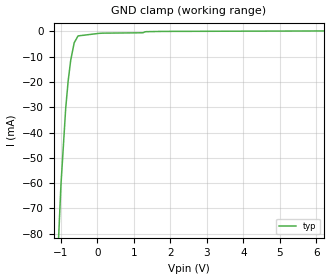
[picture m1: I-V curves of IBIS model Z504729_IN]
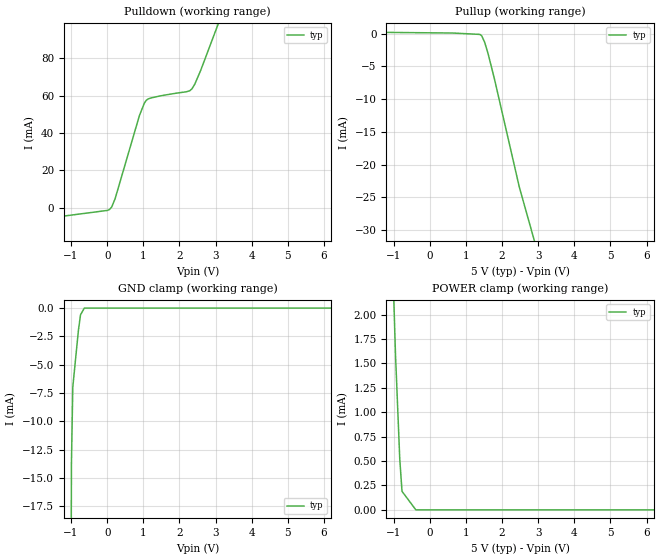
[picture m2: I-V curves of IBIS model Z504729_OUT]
| YOU ARE ONLY AUTHORIZED TO USE THIS SOFTWARE
| ACCORDING TO LICENSOR'S LICENSE RESTRICTIONS.
[IBIS Ver] 3.1
[File Name] sn74ls77d.ibs
[File Rev] 2.0
[Source] Measured and created by ICX Technology
[Date] Friday 7/14/00 9:08:21 AM
[Copyright]
| (C) COPYRIGHT 1993-2000
| MENTOR GRAPHICS CORPORATION
| ICX STANDARD LIBRARY, ICX PROJECT MODELING,
| ICX CUSTOM MODELING, ICX VENDOR MODEL
| ALL RIGHTS RESERVED.
| THE FOLLOWING ARE TRADEMARKS OR SERVICE MARKS OF
| MENTOR GRAPHICS CORPORATION:ICX (R), ICX STANDARD
| LIBRARY(R), ICX PROJECT MODELING(R), ICX CUSTOM
| MODELING(R), qualityIBIS(TM), MODELVIEWER(TM),
| AND MODELEDITOR(TM)
| ALL COPIES OF SOFTWARE, INCLUDING BUT NOT LIMITED TO
| ANY MODIFICATIONS, ENHANCEMENTS OR DERIVATIVE WORKS,
| MUST CONTAIN ALL MENTOR GRAPHICS CORPORATION'S
| NOTICES AND LEGENDS, INCLUDING THOSE EMBEDDED IN
| SOFTWARE AND THOSE AFFIXED TO SOFTWARE MEDIUM
| AND CONTAINER, AS RECEIVED FROM MENTOR GRAPHICS
| CORPORATION.
|  ZAP Model Builder 2.7
[Component] SN74LS77D
[Manufacturer] OnSemiconductor
[Package]
| variable   typ   min   max
R_pkg  .21ohms NA NA
L_pkg  4.543nH NA NA
C_pkg  1.059pF NA NA
[Pin] signal_name  model_name  R_pin  L_pin C_pin
1 D0 Z504729_IN .22 6.757n 1.432p
2 D1 Z504729_IN .212 4.757n 1.142p
3 CLK Z504729_IN .204 3.257n .852p
4 VCC POWER .196 2.257n .562p
5 D0 Z504729_IN .204 3.257n .852p
6 D1 Z504729_IN .212 4.757n 1.142p
7 NC NC .22 6.757n 1.432p
8 Q1 Z504729_OUT .22 6.757n 1.432p
9 Q0 Z504729_OUT .212 4.757n 1.142p
10 NC NC .204 3.257n .852p
11 GROUND GND .196 2.257n .562p
12 CLK Z504729_IN .204 3.257n .852p
13 Q1 Z504729_OUT .212 4.757n 1.142p
14 Q0 Z504729_OUT .22 6.757n 1.432p
| Models and submodels in the file (2): Z504729_IN (Input), Z504729_OUT (Output)
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| (C) COPYRIGHT 1993-2000
| MENTOR GRAPHICS CORPORATION
| ICX STANDARD LIBRARY, ICX PROJECT MODELING,
| ICX CUSTOM MODELING, ICX VENDOR MODEL
| ALL RIGHTS RESERVED.
| THE FOLLOWING ARE TRADEMARKS OR SERVICE MARKS OF
| MENTOR GRAPHICS CORPORATION:ICX (R), ICX STANDARD
| LIBRARY(R), ICX PROJECT MODELING(R), ICX CUSTOM
| MODELING(R), qualityIBIS(TM), MODELVIEWER(TM),
| AND MODELEDITOR(TM)
| ALL COPIES OF SOFTWARE, INCLUDING BUT NOT LIMITED TO
| ANY MODIFICATIONS, ENHANCEMENTS OR DERIVATIVE WORKS,
| MUST CONTAIN ALL MENTOR GRAPHICS CORPORATION'S
| NOTICES AND LEGENDS, INCLUDING THOSE EMBEDDED IN
| SOFTWARE AND THOSE AFFIXED TO SOFTWARE MEDIUM
| AND CONTAINER, AS RECEIVED FROM MENTOR GRAPHICS
| CORPORATION.
| Model Application Version 1.89 2/18/99.
[Model] Z504729_IN
Model_type Input
Vinl = 800.0mV
Vinh = 2.000V
C_comp 4.000pF NA NA
| variable typ   min   max
[Voltage Range] 5.000V NA NA
[GND Clamp Reference] 0.000V NA NA
[POWER Clamp Reference] 5.000V NA NA
[GND Clamp]
-5V       -1.359A    NA         NA
-996.2mV  -60.56mA   NA         NA
-866.5mV  -30.37mA   NA         NA
-799.8mV  -19.63mA   NA         NA
-730.2mV  -11.46mA   NA         NA
-634.3mV  -4.474mA   NA         NA
-528.6mV  -1.771mA   NA         NA
146.5mV   -673.1uA   NA         NA
1.23V     -531.2uA   NA         NA
1.347V    -87.77uA   NA         NA
1.788V    15.13uA    NA         NA
10V       355.1uA    NA         NA
[POWER Clamp]
-5V       0A         NA         NA
10V       0A         NA         NA
| (C) COPYRIGHT 1993-2000
| MENTOR GRAPHICS CORPORATION
| ICX STANDARD LIBRARY, ICX PROJECT MODELING,
| ICX CUSTOM MODELING, ICX VENDOR MODEL
| ALL RIGHTS RESERVED.
| THE FOLLOWING ARE TRADEMARKS OR SERVICE MARKS OF
| MENTOR GRAPHICS CORPORATION:ICX (R), ICX STANDARD
| LIBRARY(R), ICX PROJECT MODELING(R), ICX CUSTOM
| MODELING(R), qualityIBIS(TM), MODELVIEWER(TM),
| AND MODELEDITOR(TM)
| ALL COPIES OF SOFTWARE, INCLUDING BUT NOT LIMITED TO
| ANY MODIFICATIONS, ENHANCEMENTS OR DERIVATIVE WORKS,
| MUST CONTAIN ALL MENTOR GRAPHICS CORPORATION'S
| NOTICES AND LEGENDS, INCLUDING THOSE EMBEDDED IN
| SOFTWARE AND THOSE AFFIXED TO SOFTWARE MEDIUM
| AND CONTAINER, AS RECEIVED FROM MENTOR GRAPHICS
| CORPORATION.
| Model Application Version 1.89 2/18/99.
[Model] Z504729_OUT
Model_type Output
Vref=5.000V
Rref=2.000kohms
Cref=15.00pF
Vmeas=1.300V
C_comp 8.000pF NA NA
| variable typ   min   max
[Voltage Range] 5.000V NA NA
[POWER Clamp Reference] 5.000V NA NA
[Pullup Reference] 5.000V NA NA
[Pulldown Reference] 0.000V NA NA
[GND Clamp Reference] 0.000V NA NA
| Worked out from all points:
|   slope of the pulldown table from 0 to 0.75 V, typ, clamps not added: 18.1 ohm
|   slope of the pullup table from 0 to 0.75 V, typ, clamps not added: 11.6 kohm
|   GND clamp passes 1 mA (typ) near -0.76 V on its own axis
|   POWER clamp passes 1 mA (typ) near -0.88 V on its own axis
[GND Clamp]
-5V       -597.9mA   NA         NA
-1.066V   -49.28mA   NA         NA
-1.036V   -41.75mA   NA         NA
-1.004V   -29.78mA   NA         NA
-989.2mV  -13.69mA   NA         NA
-951.5mV  -6.959mA   NA         NA
-795.5mV  -1.946mA   NA         NA
-737.8mV  -594.9uA   NA         NA
-632.4mV  0A         NA         NA
10V       0A         NA         NA
[Pulldown]
-5V       -13.97mA   NA         NA
63.1mV    -904uA     NA         NA
125.8mV   471.3uA    NA         NA
219.2mV   4.884mA    NA         NA
891.7mV   49.38mA    NA         NA
1.027V    56mA       NA         NA
1.084V    57.6mA     NA         NA
1.205V    58.79mA    NA         NA
2.285V    62.67mA    NA         NA
2.424V    66.21mA    NA         NA
2.578V    73.13mA    NA         NA
10V       453mA      NA         NA
[Pullup]
-5V       401.3uA    NA         NA
636mV     107.5uA    NA         NA
1.362V    -94.48uA   NA         NA
1.401V    -135.3uA   NA         NA
1.441V    -335.8uA   NA         NA
1.523V    -1.327mA   NA         NA
1.62V     -3.13mA    NA         NA
1.797V    -7.029mA   NA         NA
2.48V     -23.42mA   NA         NA
10V       -171.4mA   NA         NA
[POWER Clamp]
-5V       56.71mA    NA         NA
-1.105V   3.487mA    NA         NA
-946mV    1.59mA     NA         NA
-828mV    519.4uA    NA         NA
-766mV    189.9uA    NA         NA
-383mV    0A         NA         NA
10V       0A         NA         NA
[Ramp]
| variable typ min max
dV/dt_r 1.880/14.42n NA NA
dV/dt_f 1.880/1.887n NA NA
R_load = 500.0Ohms
